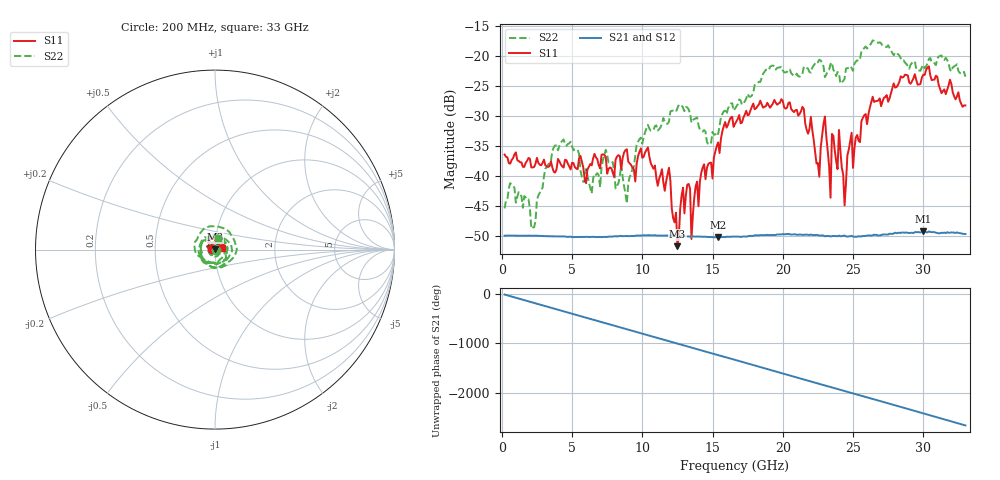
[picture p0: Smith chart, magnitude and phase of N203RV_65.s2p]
# GHZ S RI R 50
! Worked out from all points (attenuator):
!   329 points, 200 MHz to 33 GHz, reference 50 ohm
!   highest |S21| = -49.20 dB at 30 GHz (marker M1); lowest = -50.2 dB at 15.4 GHz (marker M2)
!   lowest |S11| = -51.7 dB at 12.5 GHz (marker M3), VSWR 1.01, Z = 49.9 + j0.255 ohm
!   |S11| at or under -10 dB: start of sweep to end of sweep
!   |S22| runs from -48.8 to -17.5 dB; largest |S21 - S12| = 7.3e-05
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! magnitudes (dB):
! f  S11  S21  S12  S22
! 200 MHz  -36.4  -50.0  -49.9  -45.4
! 2.3 GHz  -38.5  -50.0  -49.9  -48.5
! 4.4 GHz  -38.6  -50.1  -50.1  -33.9
! 5.7 GHz  -37.6  -50.2  -50.1  -40.2
! 8.9 GHz  -35.6  -50.0  -50.0  -44.6
! 11.2 GHz  -40.5  -49.9  -49.9  -32.2
! 11.9 GHz  -38.6  -49.9  -49.9  -31.0
! 12.5 GHz  -51.7  -49.9  -49.9  -28.7
! 12.9 GHz  -42.0  -50.0  -50.0  -28.7
! 15.4 GHz  -34.4  -50.2  -50.2  -33.0
! 16.6 GHz  -31.3  -50.1  -50.1  -28.8
! 22.1 GHz  -32.3  -49.8  -49.8  -22.0
! 22.6 GHz  -40.2  -49.9  -49.9  -20.7
! 23 GHz  -30.1  -50.0  -50.0  -23.6
! 23.4 GHz  -43.6  -50.1  -50.0  -21.4
! 23.5 GHz  -33.0  -50.0  -50.0  -21.1
! 24 GHz  -32.4  -49.9  -50.0  -22.9
! 24.4 GHz  -44.9  -49.9  -49.9  -23.8
! 24.9 GHz  -32.8  -50.0  -50.0  -22.0
! 27.6 GHz  -27.1  -49.6  -49.6  -18.7
! 30 GHz  -23.2  -49.2  -49.3  -21.5
! 33 GHz  -28.3  -49.7  -49.7  -23.5
